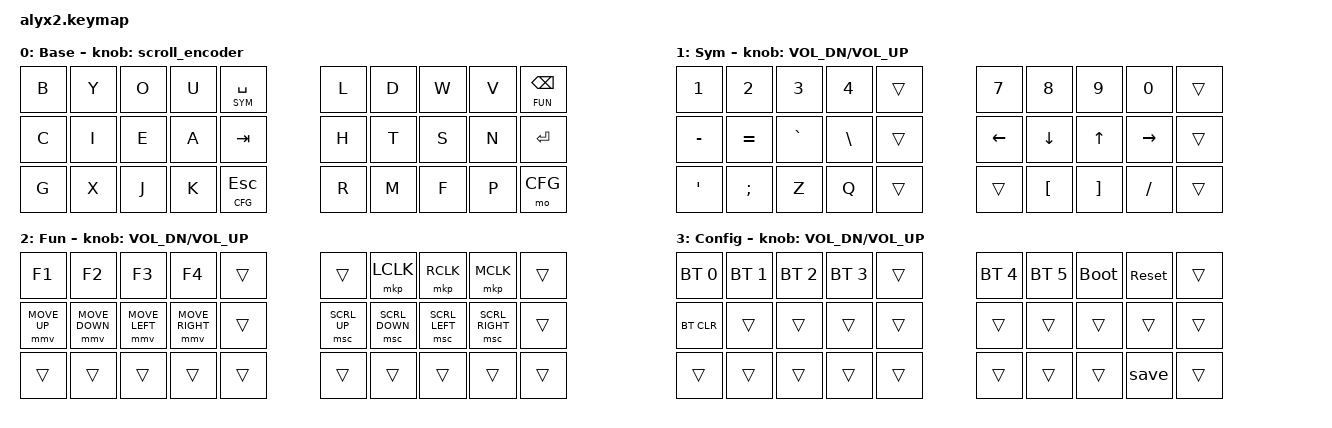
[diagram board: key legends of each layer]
/*
 * Copyright (c) 2020 The ZMK Contributors
 *
 * SPDX-License-Identifier: MIT
 */

#include <behaviors.dtsi>
#include <dt-bindings/zmk/keys.h>
#include <dt-bindings/zmk/bt.h>
#include <dt-bindings/zmk/outputs.h>
#include <dt-bindings/zmk/pointing.h>

#define BAS 0
#define SYM 1
#define FUN 2
#define CFG 3

&mmv {
	trigger-period-ms = <12>;
};

&msc {
	trigger-period-ms = <12>;
	time-to-max-speed-ms = <50>;
	acceleration-exponent = <1>;
};

/ {
	behaviors {
		scroll_encoder: scroll_encoder {
			compatible = "zmk,behavior-sensor-rotate";
			#sensor-binding-cells = <0>;
			bindings = <&msc MOVE_Y(72)>, <&msc MOVE_Y(-72)>;
			tap-ms = <20>;
		};
	};

	macros {
		ZMK_MACRO(save,
			wait-ms = <30>;
			tap-ms = <40>;
			bindings = <&macro_tap &kp ESC &kp COLON &kp W &kp RET>;
		)
	};

	combos {
		compatible = "zmk,combos";
		combos_lgui {
			key-positions = <0 5>;
			bindings = <&kp LGUI>;
			timeout-ms = <50>;
		};
		combos_lalt {
			key-positions = <1 6>;
			bindings = <&kp LALT>;
			timeout-ms = <50>;
		};
		combos_lshft {
			key-positions = <2 7>;
			bindings = <&kp LSHFT>;
			timeout-ms = <50>;
		};
		combos_lctrl {
			key-positions = <3 8>;
			bindings = <&kp LCTRL>;
			timeout-ms = <50>;
		};
		combos_rctrl {
			key-positions = <10 15>;
			bindings = <&kp RCTRL>;
			timeout-ms = <50>;
		};
		combos_rshft {
			key-positions = <11 16>;
			bindings = <&kp RSHFT>;
			timeout-ms = <50>;
		};
		combos_ralt {
			key-positions = <12 17>;
			bindings = <&kp RALT>;
			timeout-ms = <50>;
		};
		combos_rgui {
			key-positions = <13 18>;
			bindings = <&kp RGUI>;
			timeout-ms = <50>;
		};
		combos_mclk {
			key-positions = <24 25>;
			bindings = <&mkp MCLK>;
			timeout-ms = <50>;
		};
	};

	keymap {
		compatible = "zmk,keymap";
		base_layer {
			display-name = "Base";
			bindings = <
	&kp B &kp Y &kp O &kp U       &lt SYM SPC    &kp L   &kp D &kp W &kp V       &lt FUN BSPC
	&kp C &kp I &kp E &kp A       &kp TAB        &kp H   &kp T &kp S &kp N       &kp RET
	&kp G &kp X &kp J &kp K       &lt CFG ESC    &kp R   &kp M &kp F &kp P       &mo CFG
			>;
			sensor-bindings = <&scroll_encoder>;
		};

		sym_layer {
			display-name = "Sym";
			bindings = <
	&kp N1 &kp N2 &kp N3 &kp N4 &trans       &kp N7 &kp N8 &kp N9 &kp N0 &trans
	&kp MINUS &kp EQUAL &kp GRAVE &kp BSLH &trans  &kp LEFT &kp DOWN &kp UP &kp RIGHT &trans
	&kp SQT &kp SEMI &kp Z &kp Q   &trans       &trans &kp LBKT &kp RBKT &kp FSLH &trans
			>;
			sensor-bindings = <&inc_dec_kp C_VOL_DN C_VOL_UP>;
		};

		fun_layer {
			display-name = "Fun";
			bindings = <
	&kp F1 &kp F2 &kp F3 &kp F4   &trans       &trans       &mkp LCLK &mkp RCLK &mkp MCLK &trans
	&mmv MOVE_UP &mmv MOVE_DOWN &mmv MOVE_LEFT &mmv MOVE_RIGHT &trans  &msc SCRL_UP &msc SCRL_DOWN &msc SCRL_LEFT &msc SCRL_RIGHT &trans
	&trans &trans &trans &trans   &trans       &trans       &trans    &trans    &trans    &trans
			>;
			sensor-bindings = <&inc_dec_kp C_VOL_DN C_VOL_UP>;
		};

		cfg_layer {
			display-name = "Config";
			bindings = <
	&bt BT_SEL 0 &bt BT_SEL 1 &bt BT_SEL 2 &bt BT_SEL 3 &trans  &bt BT_SEL 4 &bt BT_SEL 5   &bootloader &sys_reset &trans
	&bt BT_CLR &trans &trans &trans      &trans       &trans   &trans       &trans      &trans     &trans
	&trans      &trans &trans &trans      &trans       &trans   &trans       &trans      &save      &trans
			>;
			sensor-bindings = <&inc_dec_kp C_VOL_DN C_VOL_UP>;
		};
	};
};
